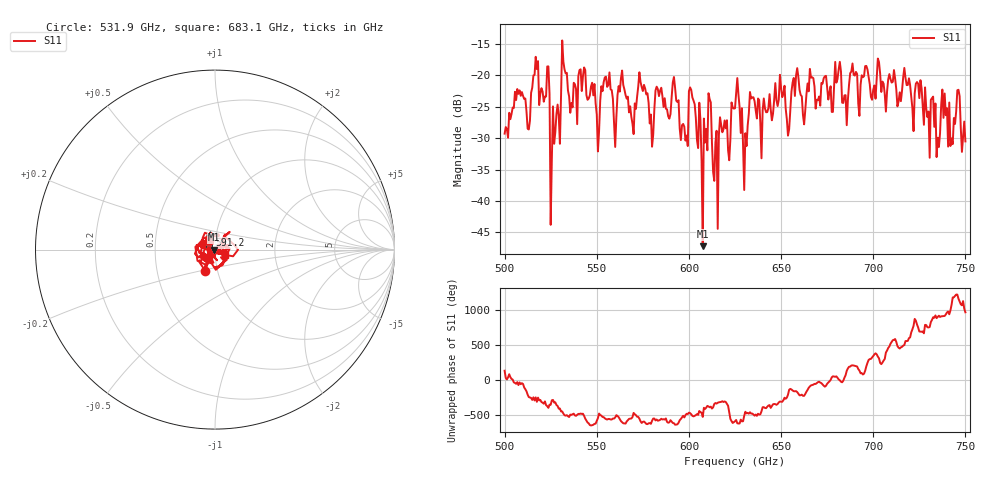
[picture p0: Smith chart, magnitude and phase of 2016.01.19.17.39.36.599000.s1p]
!Created with skrf (http://scikit-rf.org).
# GHz S RI R 50.0
!freq ReS11 ImS11
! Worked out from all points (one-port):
!   401 points, 500 GHz to 750 GHz, reference 50 ohm
!   lowest |S11| = -47.2 dB at 607.5 GHz (marker M1), VSWR 1.01, Z = 49.6 - j0.124 ohm
!   |S11| at or under -10 dB: start of sweep to end of sweep
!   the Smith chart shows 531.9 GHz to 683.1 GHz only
!   S11 on the Smith chart (normalised r, x): 531.9 GHz: 0.87, -0.21; 591.2 GHz: 0.93, +0.15; 683.1 GHz: 1.11, -0.06
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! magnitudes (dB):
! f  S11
! 500 GHz  -29.3
! 506.9 GHz  -22.2
! 513.1 GHz  -28.6
! 516.9 GHz  -17.0
! 523.1 GHz  -18.6
! 526.2 GHz  -24.9
! 531.2 GHz  -14.4
! 531.9 GHz  -17.8
! 550.6 GHz  -32.1
! 562.5 GHz  -22.6
! 568.8 GHz  -26.6
! 574.4 GHz  -21.8
! 580 GHz  -31.3
! 591.2 GHz  -21.1
! 593.8 GHz  -24.2
! 598.1 GHz  -30.4
! 601.2 GHz  -22.3
! 607.5 GHz  -47.2
! 610.6 GHz  -22.8
! 614.4 GHz  -30.7
! 625 GHz  -25.2
! 630.6 GHz  -29.2
! 634.4 GHz  -23.5
! 656.2 GHz  -21.1
! 683.1 GHz  -24.3
! 687.5 GHz  -19.6
! 718.8 GHz  -21.5
! 750 GHz  -30.5
